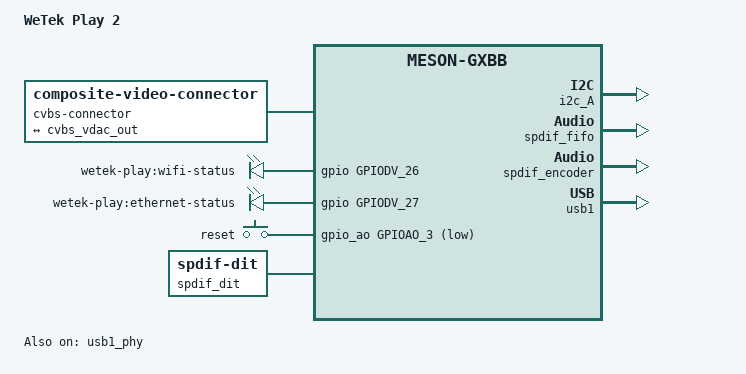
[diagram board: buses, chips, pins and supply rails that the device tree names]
// SPDX-License-Identifier: (GPL-2.0+ OR MIT)
/*
 * Copyright (c) 2016 BayLibre, Inc.
 * Author: Neil Armstrong <narmstrong@baylibre.com>
 */

/dts-v1/;

#include "meson-gxbb-wetek.dtsi"
#include <dt-bindings/input/input.h>

/ {
	compatible = "wetek,play2", "amlogic,meson-gxbb";
	model = "WeTek Play 2";

	cvbs-connector {
		compatible = "composite-video-connector";

		port {
			cvbs_connector_in: endpoint {
				remote-endpoint = <&cvbs_vdac_out>;
			};
		};
	};

	leds {
		wifi {
			label = "wetek-play:wifi-status";
			gpios = <&gpio GPIODV_26 GPIO_ACTIVE_HIGH>;
			default-state = "off";
		};

		ethernet {
			label = "wetek-play:ethernet-status";
			gpios = <&gpio GPIODV_27 GPIO_ACTIVE_HIGH>;
			default-state = "off";
		};
	};

	gpio-keys-polled {
		compatible = "gpio-keys-polled";
		#address-cells = <1>;
		#size-cells = <0>;
		poll-interval = <100>;

		button@0 {
			label = "reset";
			linux,code = <KEY_RESTART>;
			gpios = <&gpio_ao GPIOAO_3 GPIO_ACTIVE_LOW>;
		};
	};

	spdif_dit: audio-codec-0 {
		#sound-dai-cells = <0>;
		compatible = "linux,spdif-dit";
		status = "okay";
		sound-name-prefix = "DIT";
	};

	sound {
		compatible = "amlogic,gx-sound-card";
		model = "AMLGX";
		audio-routing = "I2S ENCODER Playback", "I2S FIFO Playback",
				"SPDIF ENCODER I2S IN", "I2S FIFO Playback",
				"SPDIF ENCODER SPDIF IN", "SPDIF FIFO Playback";

		assigned-clocks = <&clkc CLKID_MPLL2>,
				  <&clkc CLKID_MPLL0>,
				  <&clkc CLKID_MPLL1>;
		assigned-clock-parents = <0>, <0>, <0>;
		assigned-clock-rates = <294912000>,
				       <270950400>,
				       <393216000>;
		status = "okay";

		dai-link-0 {
			sound-dai = <&i2s_fifo>;
		};

		dai-link-1 {
			sound-dai = <&spdif_fifo>;
		};

		dai-link-2 {
			sound-dai = <&i2s_encoder>;
			dai-format = "i2s";
			mclk-fs = <256>;

			codec-0 {
				sound-dai = <&hdmi_tx>;
			};
		};

		dai-link-3 {
			sound-dai = <&spdif_encoder>;

			codec-0 {
				sound-dai = <&spdif_dit>;
			};
		};
	};
};

&cvbs_vdac_port {
	cvbs_vdac_out: endpoint {
		remote-endpoint = <&cvbs_connector_in>;
	};
};

&i2c_A {
	status = "okay";
	pinctrl-0 = <&i2c_a_pins>;
	pinctrl-names = "default";
};

&spdif_fifo {
	status = "okay";
};

&spdif_encoder {
	status = "okay";
	pinctrl-0 = <&spdif_out_y_pins>;
	pinctrl-names = "default";
};

&usb1_phy {
	status = "okay";
};

&usb1 {
	status = "okay";
};

&ir {
	linux,rc-map-name = "rc-wetek-play2";
};
